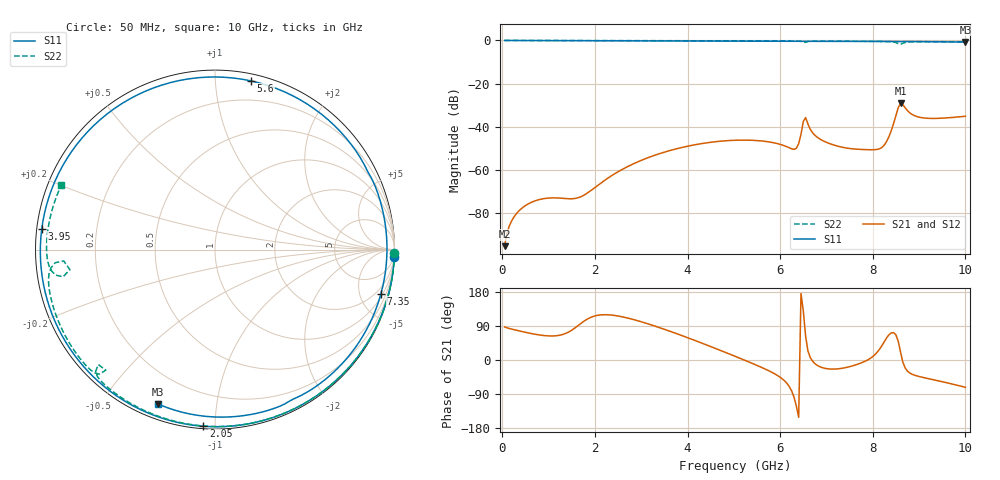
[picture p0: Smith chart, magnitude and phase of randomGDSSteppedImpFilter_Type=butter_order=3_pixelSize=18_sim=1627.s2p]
! freq	dB(S11)	phase(S11)	dB(S12)	phase(S12)
!  dB(S21)	phase(S21)	dB(S22)	phase(S22)
!S-par simulation data
#  GHz  S  DB  R 50
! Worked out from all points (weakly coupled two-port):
!   200 points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, 50 MHz to 10 GHz, reference 50 ohm
!   highest |S21| = -29.04 dB at 8.6 GHz (marker M1); lowest = -95.2 dB at 50 MHz (marker M2)
!   lowest |S11| = -0.8 dB at 10 GHz (marker M3), VSWR 23.01, Z = 3.22 - j34.7 ohm
!   |S11| at or under -10 dB: nowhere
!   |S22| runs from -1.8 to 0.0 dB; largest |S21 - S12| = 0
!   S11 on the Smith chart (normalised r, x): 50 MHz: 0, -49; 2.05 GHz: 0.01, -0.94; 3.95 GHz: 0.01, +0.06; 5.6 GHz: 0.05, +1.23; 7.35 GHz: 1.29, -7.45; 10 GHz: 0.06, -0.69
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0.05  -0.00 -2.3  -95.16 87.2  -95.16 87.2  -0.00 -1.1
0.3  -0.02 -13.9  -80.26 78.6  -80.26 78.6  -0.00 -6.8
0.8  -0.05 -36.7  -73.60 66.1  -73.60 66.1  -0.02 -18.1
1.75  -0.10 -80.0  -71.72 101.2  -71.72 101.2  -0.05 -39.0
2.05  -0.12 -93.8  -67.23 117.7  -67.23 117.7  -0.06 -45.5
2.7  -0.16 -124.1  -58.41 111.0  -58.41 111.0  -0.08 -59.3
3.4  -0.20 -158.3  -52.33 85.2  -52.33 85.2  -0.10 -73.7
3.95  -0.25 173.2  -49.16 61.2  -49.16 61.2  -0.12 -84.7
4.45  -0.28 145.6  -47.25 37.9  -47.25 37.9  -0.13 -94.5
5.05  -0.32 110.7  -46.14 8.7  -46.14 8.7  -0.16 -106.0
5.6  -0.35 78.0  -46.49 -19.6  -46.49 -19.6  -0.19 -116.5
6.35  -0.37 35.0  -49.88 -121.7  -49.88 -121.7  -0.28 -131.5
6.4  -0.37 32.3  -47.75 -151.3  -47.75 -151.3  -0.32 -132.8
6.5  -0.40 27.0  -37.48 129.9  -37.48 129.9  -0.79 -135.4
6.55  -0.37 24.5  -35.67 62.5  -35.67 62.5  -0.85 -132.2
6.7  -0.36 16.5  -42.67 -3.1  -42.67 -3.1  -0.32 -135.7
7.35  -0.38 -14.9  -49.44 -21.7  -49.44 -21.7  -0.33 -149.0
8.1  -0.44 -46.0  -50.37 21.2  -50.37 21.2  -0.42 -164.3
8.35  -0.48 -55.4  -44.46 66.6  -44.46 66.6  -0.53 -170.4
8.6  -0.53 -64.0  -29.04 20.6  -29.04 20.6  -1.76 -172.1
9.05  -0.55 -79.6  -35.70 -45.1  -35.70 -45.1  -0.55 179.2
10  -0.76 -110.4  -35.06 -72.1  -35.06 -72.1  -0.64 157.2
